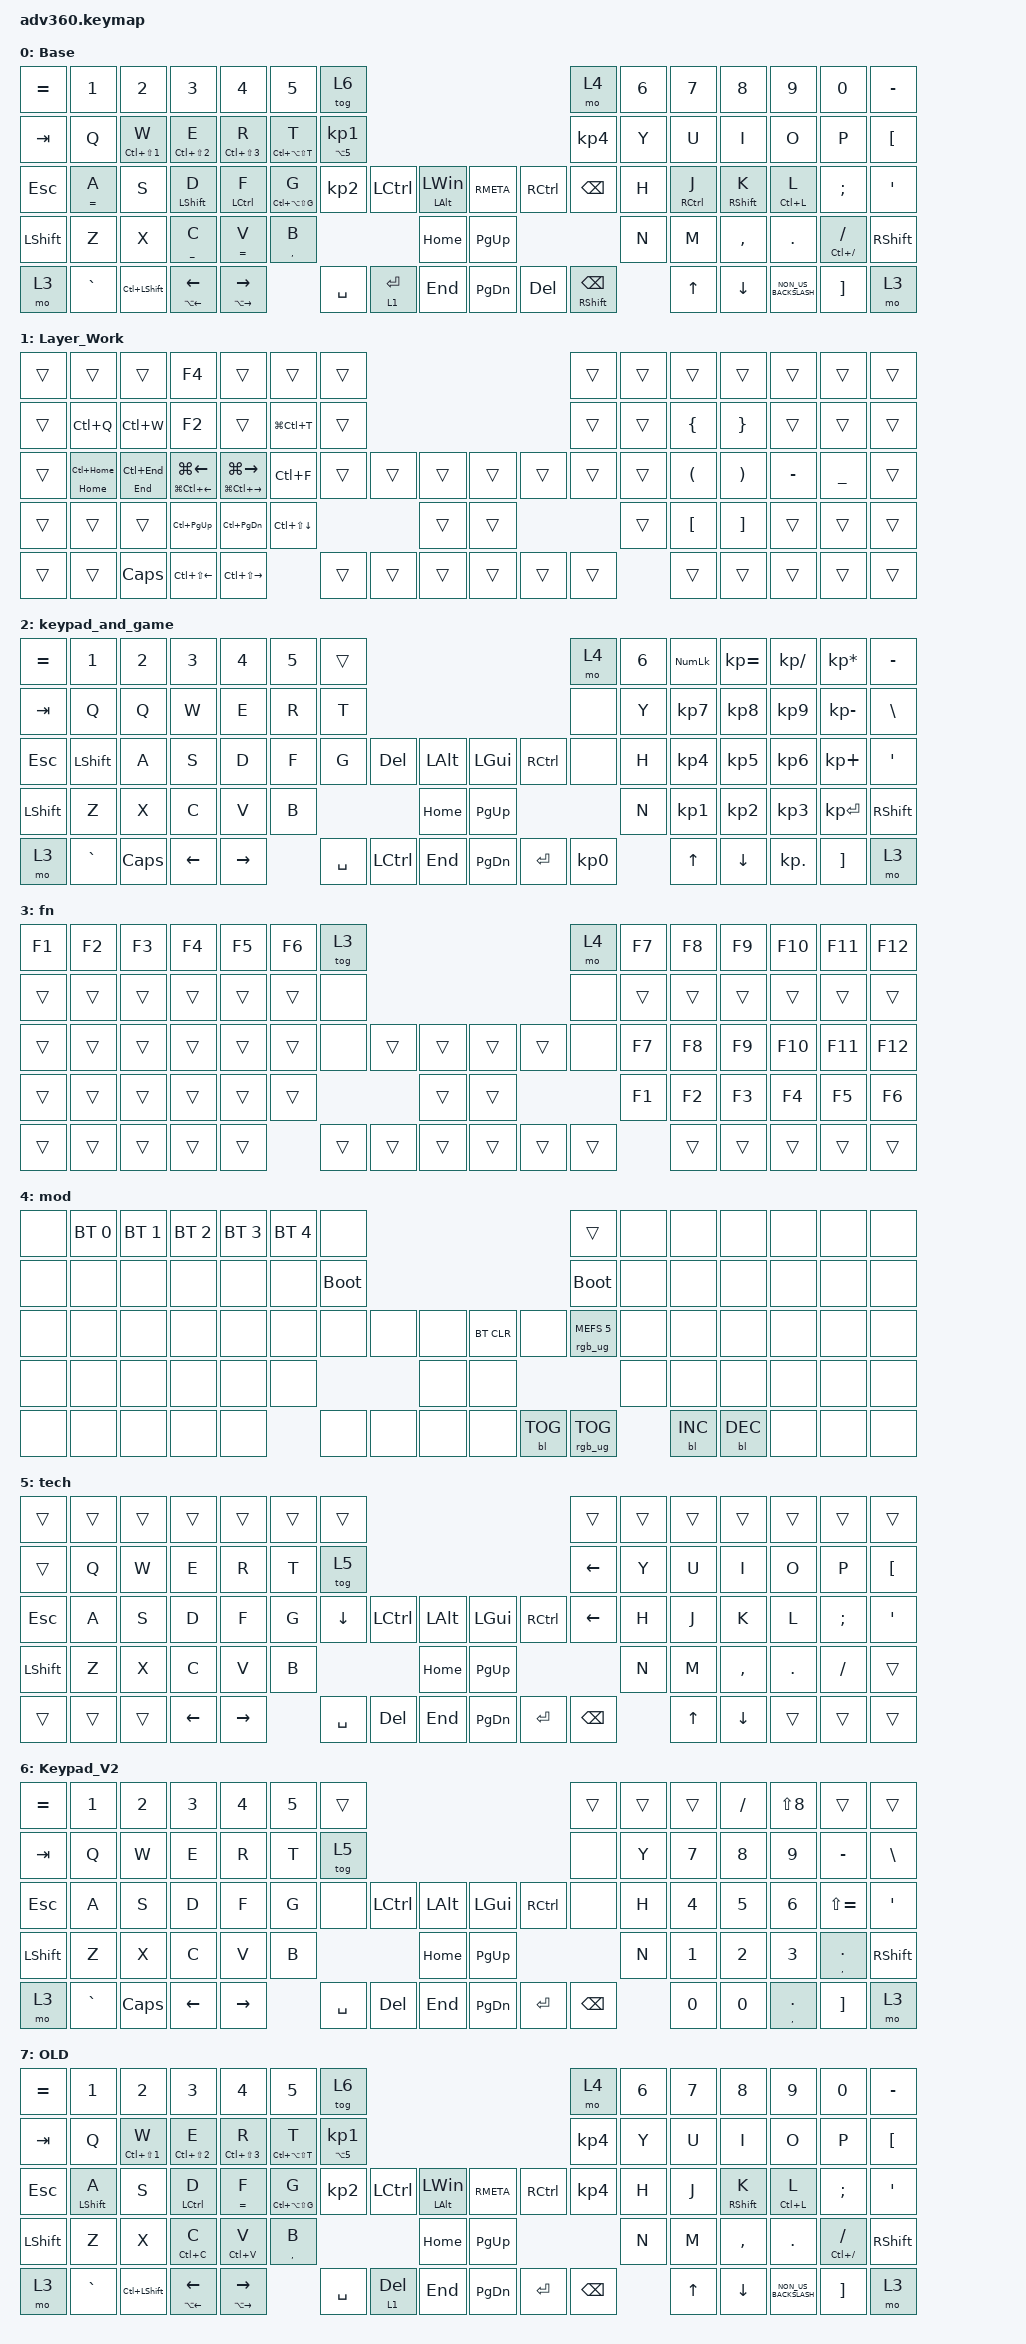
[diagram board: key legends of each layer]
#include <behaviors.dtsi>
#include <dt-bindings/zmk/backlight.h>
#include <dt-bindings/zmk/bt.h>
#include <dt-bindings/zmk/keys.h>
#include <dt-bindings/zmk/rgb.h>

/ {
    behaviors {
        #include "macros.dtsi"

        hm: homerow_mods {
            compatible = "zmk,behavior-hold-tap";
            label = "HOMEROW_MODS";
            #binding-cells = <2>;
            tapping-term-ms = <400>;
            quick_tap_ms = <175>;
            flavor = "tap-preferred";
            bindings = <&kp>, <&kp>;

            hold-trigger-on-release;
        };

        hm_shift: hm_shift {
            compatible = "zmk,behavior-hold-tap";
            label = "HM_SHIFT";
            #binding-cells = <2>;
            tapping-term-ms = <175>;
            flavor = "balanced";
            bindings = <&kp>, <&kp>;

            hold-while-undecided-linger;
            quick-tap-ms = <150>;
            hold-trigger-on-release;
            require-prior-idle-ms = <250>;
        };

        hm_crtl: hm_crtl {
            compatible = "zmk,behavior-hold-tap";
            label = "HM_CRTL";
            #binding-cells = <2>;
            tapping-term-ms = <200>;
            flavor = "tap-preferred";
            bindings = <&kp>, <&kp>;

            quick-tap-ms = <175>;
            require-prior-idle-ms = <250>;
        };

        td_z: td_z {
            compatible = "zmk,behavior-tap-dance";
            label = "TD_Z";
            #binding-cells = <0>;
            tapping-term-ms = <200>;
            bindings = <&kp Z>, <&kp ESC>;
        };

        td_x: td_x {
            compatible = "zmk,behavior-tap-dance";
            label = "TD_X";
            #binding-cells = <0>;
            tapping-term-ms = <200>;
            bindings = <&kp X>, <&kp TAB>;
        };
    };

    combos {
        compatible = "zmk,combos";

        ctr+shift+alt+tab_OK {
            bindings = <&kp LC(LA(LS(TAB)))>;
            key-positions = <15 16>;
        };

        delete_OK {
            bindings = <&kp DELETE>;
            key-positions = <33 32>;
            require-prior-idle-ms = <300>;
        };

        tab_OK {
            bindings = <&kp TAB>;
            key-positions = <33 31>;
        };

        game_layer_OK {
            bindings = <&tog 3>;
            key-positions = <33 34>;
        };

        sublime_text_OK {
            bindings = <&kp LC(LA(LS(S)))>;
            key-positions = <30 19>;
        };

        teems_OK {
            bindings = <&kp LC(LA(LS(E)))>;
            key-positions = <19 65>;
            slow-release;
        };

        keypad_V2_OK {
            bindings = <&tog 6>;
            key-positions = <42 43 41>;
        };

        lang_change_OK {
            bindings = <&kp LC(LEFT_SHIFT)>;
            key-positions = <32 30>;
        };

        crtl_a_OK {
            bindings = <&kp LC(A)>;
            key-positions = <29 65>;
        };

        Crtl_Shift_S_OK {
            bindings = <&kp LC(LS(S))>;
            key-positions = <30 65>;
        };

        space_f_to_equal {
            bindings = <&kp EQUAL>;
            key-positions = <32 65>;
        };

        space_g_to_plus {
            bindings = <&kp PLUS>;
            key-positions = <33 65>;
        };

        space_d_to_change_lang_v2 {
            bindings = <&kp LC(LEFT_SHIFT)>;
            key-positions = <31 66>;
        };

        under_score {
            bindings = <&kp UNDERSCORE>;
            key-positions = <44 66>;
        };

        minus {
            bindings = <&kp MINUS>;
            key-positions = <43 66>;
        };

        change_lang_v3 {
            bindings = <&kp LC(LEFT_SHIFT)>;
            key-positions = <31 65>;
        };

        Space_Z_to_ctrl_Z {
            bindings = <&kp LC(Z)>;
            key-positions = <65 47>;
        };

        Space_X_to_ctrl_X {
            bindings = <&kp LC(X)>;
            key-positions = <65 48>;
        };

        Space_C_to_ctrl_C {
            bindings = <&kp LC(C)>;
            key-positions = <65 49>;
        };

        Space_V_to_minus {
            bindings = <&kp MINUS>;
            key-positions = <65 50>;
        };

        Space_B_to_underscore {
            bindings = <&kp UNDERSCORE>;
            key-positions = <65 51>;
        };
    };

    keymap {
        compatible = "zmk,keymap";

        Default_Layer {
            bindings = <
&kp EQUAL  &kp NUMBER_1  &kp NUMBER_2            &kp NUMBER_3            &kp N4                  &kp N5               &tog 6                                                                             &mo 4                            &kp N6  &kp N7            &kp N8                   &kp N9                &kp N0              &kp MINUS
&kp TAB    &kp Q         &hm LC(LS(NUMBER_1)) W  &hm LC(LS(NUMBER_2)) E  &hm LC(LS(NUMBER_3)) R  &hm LC(LA(LS(T))) T  &mt LA(NUMBER_5) KP_N1                                                             &kp KP_NUMBER_4                  &kp Y   &kp U             &kp I                    &kp O                 &kp P               &kp LEFT_BRACKET
&kp ESC    &hm EQUAL A   &kp S                   &hm_shift LEFT_SHIFT D  &hm_crtl LCTRL F        &hm LC(LA(LS(G))) G  &kp KP_N2               &kp LCTRL    &mt LALT LEFT_WIN      &kp RMETA  &kp RCTRL   &kp BACKSPACE                    &kp H   &hm_crtl RCTRL J  &hm_shift RIGHT_SHIFT K  &hm LC(L) L           &kp SEMI            &kp SQT
&kp LSHFT  &kp Z         &kp X                   &hm UNDERSCORE C        &hm EQUAL V             &hm COMMA B                                               &kp HOME               &kp PG_UP                                               &kp N   &kp M             &kp COMMA                &kp DOT               &hm LC(FSLH) SLASH  &kp RSHFT
&mo 3      &kp GRAVE     &kp LC(LEFT_SHIFT)      &hm LA(LEFT) LEFT       &hm LA(RIGHT) RIGHT                          &kp SPACE               &lt 1 ENTER  &kp END                &kp PG_DN  &kp DELETE  &hm_shift RIGHT_SHIFT BACKSPACE          &kp UP            &kp DOWN                 &kp NON_US_BACKSLASH  &kp RBKT            &mo 3
            >;

            label = "Base";
        };

        Layer_Work {
            bindings = <
&trans  &trans             &trans           &kp F4                     &trans                       &trans            &trans                                      &trans  &trans  &trans                &trans                 &trans     &trans          &trans
&trans  &kp LC(Q)          &kp LC(W)        &kp F2                     &trans                       &kp LG(LC(T))     &trans                                      &trans  &trans  &kp LEFT_BRACE        &kp RIGHT_BRACE        &trans     &trans          &trans
&trans  &hm HOME LC(HOME)  &hm END LC(END)  &mt LG(LC(LEFT)) LG(LEFT)  &mt LG(LC(RIGHT)) LG(RIGHT)  &kp LC(F)         &trans  &trans  &trans      &trans  &trans  &trans  &trans  &kp LEFT_PARENTHESIS  &kp RIGHT_PARENTHESIS  &kp MINUS  &kp UNDERSCORE  &trans
&trans  &trans             &trans           &kp LC(PG_UP)              &kp LC(PAGE_DOWN)            &kp LC(LS(DOWN))                  &trans      &trans                  &trans  &kp LEFT_BRACKET      &kp RIGHT_BRACKET      &trans     &trans          &trans
&trans  &trans             &kp CAPS         &kp LC(LS(LEFT))           &kp LC(LS(RIGHT))                              &trans  &trans  &trans      &trans  &trans  &trans          &trans                &trans                 &trans     &trans          &trans
            >;
        };

        keypad_and_game {
            bindings = <
&kp EQUAL  &kp N1     &kp N2    &kp N3    &kp N4     &kp N5  &trans                                                     &mo 4      &kp N6  &kp KP_NUM  &kp KP_EQUAL  &kp KP_DIVIDE  &kp KP_MULTIPLY  &kp MINUS
&kp TAB    &kp Q      &kp Q     &kp W     &kp E      &kp R   &kp T                                                      &none      &kp Y   &kp KP_N7   &kp KP_N8     &kp KP_N9      &kp KP_MINUS     &kp BSLH
&kp ESC    &kp LSHFT  &kp A     &kp S     &kp D      &kp F   &kp G      &kp DELETE  &kp LALT      &kp LGUI   &kp RCTRL  &none      &kp H   &kp KP_N4   &kp KP_N5     &kp KP_N6      &kp KP_PLUS      &kp SQT
&kp LSHFT  &kp Z      &kp X     &kp C     &kp V      &kp B                          &kp HOME      &kp PG_UP                        &kp N   &kp KP_N1   &kp KP_N2     &kp KP_N3      &kp KP_ENTER     &kp RSHFT
&mo 3      &kp GRAVE  &kp CAPS  &kp LEFT  &kp RIGHT          &kp SPACE  &kp LCTRL   &kp END       &kp PG_DN  &kp ENTER  &kp KP_N0          &kp UP      &kp DOWN      &kp KP_DOT     &kp RBKT         &mo 3
            >;
        };

        fn {
            bindings = <
&kp F1  &kp F2  &kp F3  &kp F4  &kp F5  &kp F6  &tog 3                                      &mo 4   &kp F7  &kp F8  &kp F9  &kp F10  &kp F11  &kp F12
&trans  &trans  &trans  &trans  &trans  &trans  &none                                       &none   &trans  &trans  &trans  &trans   &trans   &trans
&trans  &trans  &trans  &trans  &trans  &trans  &none   &trans  &trans      &trans  &trans  &none   &kp F7  &kp F8  &kp F9  &kp F10  &kp F11  &kp F12
&trans  &trans  &trans  &trans  &trans  &trans                  &trans      &trans                  &kp F1  &kp F2  &kp F3  &kp F4   &kp F5   &kp F6
&trans  &trans  &trans  &trans  &trans          &trans  &trans  &trans      &trans  &trans  &trans          &trans  &trans  &trans   &trans   &trans
            >;
        };

        mod {
            bindings = <
&none  &bt BT_SEL 0  &bt BT_SEL 1  &bt BT_SEL 2  &bt BT_SEL 3  &bt BT_SEL 4  &none                                                  &trans                  &none  &none       &none       &none  &none  &none
&none  &none         &none         &none         &none         &none         &bootloader                                            &bootloader             &none  &none       &none       &none  &none  &none
&none  &none         &none         &none         &none         &none         &none        &none  &none      &bt BT_CLR  &none       &rgb_ug RGB_MEFS_CMD 5  &none  &none       &none       &none  &none  &none
&none  &none         &none         &none         &none         &none                             &none      &none                                           &none  &none       &none       &none  &none  &none
&none  &none         &none         &none         &none                       &none        &none  &none      &none       &bl BL_TOG  &rgb_ug RGB_TOG                &bl BL_INC  &bl BL_DEC  &none  &none  &none
            >;
        };

        tech {
            bindings = <
&trans     &trans  &trans  &trans    &trans     &trans  &trans                                                    &trans    &trans  &trans  &trans     &trans   &trans    &trans
&trans     &kp Q   &kp W   &kp E     &kp R      &kp T   &tog 5                                                    &kp LEFT  &kp Y   &kp U   &kp I      &kp O    &kp P     &kp LBKT
&kp ESC    &kp A   &kp S   &kp D     &kp F      &kp G   &kp DOWN   &kp LCTRL  &kp LALT      &kp LGUI   &kp RCTRL  &kp LEFT  &kp H   &kp J   &kp K      &kp L    &kp SEMI  &kp SQT
&kp LSHFT  &kp Z   &kp X   &kp C     &kp V      &kp B                         &kp HOME      &kp PG_UP                       &kp N   &kp M   &kp COMMA  &kp DOT  &kp FSLH  &trans
&trans     &trans  &trans  &kp LEFT  &kp RIGHT          &kp SPACE  &kp DEL    &kp END       &kp PG_DN  &kp RET    &kp BSPC          &kp UP  &kp DOWN   &trans   &trans    &trans
            >;
        };

        Keypad_V2 {
            bindings = <
&kp EQUAL  &kp N1     &kp N2    &kp N3    &kp N4     &kp N5  &trans                                                    &trans    &trans  &trans  &kp FSLH  &kp LS(N8)        &trans            &trans
&kp TAB    &kp Q      &kp W     &kp E     &kp R      &kp T   &tog 5                                                    &none     &kp Y   &kp N7  &kp N8    &kp N9            &kp MINUS         &kp BSLH
&kp ESC    &kp A      &kp S     &kp D     &kp F      &kp G   &none      &kp LCTRL  &kp LALT      &kp LGUI   &kp RCTRL  &none     &kp H   &kp N4  &kp N5    &kp N6            &kp LS(EQUAL)     &kp SQT
&kp LSHFT  &kp Z      &kp X     &kp C     &kp V      &kp B                         &kp HOME      &kp PG_UP                       &kp N   &kp N1  &kp N2    &kp N3            &hm COMMA PERIOD  &kp RSHFT
&mo 3      &kp GRAVE  &kp CAPS  &kp LEFT  &kp RIGHT          &kp SPACE  &kp DEL    &kp END       &kp PG_DN  &kp ENTER  &kp BSPC          &kp N0  &kp N0    &hm COMMA PERIOD  &kp RBKT          &mo 3
            >;
        };

        Default_Layer_OLD {
            bindings = <
&kp EQUAL  &kp NUMBER_1            &kp NUMBER_2            &kp NUMBER_3            &kp N4                  &kp N5               &tog 6                                                                             &mo 4            &kp N6  &kp N7  &kp N8                   &kp N9                &kp N0              &kp MINUS
&kp TAB    &kp Q                   &hm LC(LS(NUMBER_1)) W  &hm LC(LS(NUMBER_2)) E  &hm LC(LS(NUMBER_3)) R  &hm LC(LA(LS(T))) T  &mt LA(NUMBER_5) KP_N1                                                             &kp KP_NUMBER_4  &kp Y   &kp U   &kp I                    &kp O                 &kp P               &kp LEFT_BRACKET
&kp ESC    &hm_shift LEFT_SHIFT A  &kp S                   &hm LCTRL D             &hm EQUAL F             &hm LC(LA(LS(G))) G  &kp KP_N2               &kp LCTRL     &mt LALT LEFT_WIN      &kp RMETA  &kp RCTRL  &kp KP_NUMBER_4  &kp H   &kp J   &hm_shift RIGHT_SHIFT K  &hm LC(L) L           &kp SEMI            &kp SQT
&kp LSHFT  &kp Z                   &kp X                   &hm LC(C) C             &hm LC(V) V             &hm COMMA B                                                &kp HOME               &kp PG_UP                              &kp N   &kp M   &kp COMMA                &kp DOT               &hm LC(FSLH) SLASH  &kp RSHFT
&mo 3      &kp GRAVE               &kp LC(LEFT_SHIFT)      &hm LA(LEFT) LEFT       &hm LA(RIGHT) RIGHT                          &kp SPACE               &lt 1 DELETE  &kp END                &kp PG_DN  &kp ENTER  &kp BACKSPACE            &kp UP  &kp DOWN                 &kp NON_US_BACKSLASH  &kp RBKT            &mo 3
            >;

            label = "OLD";
        };
    };
};
